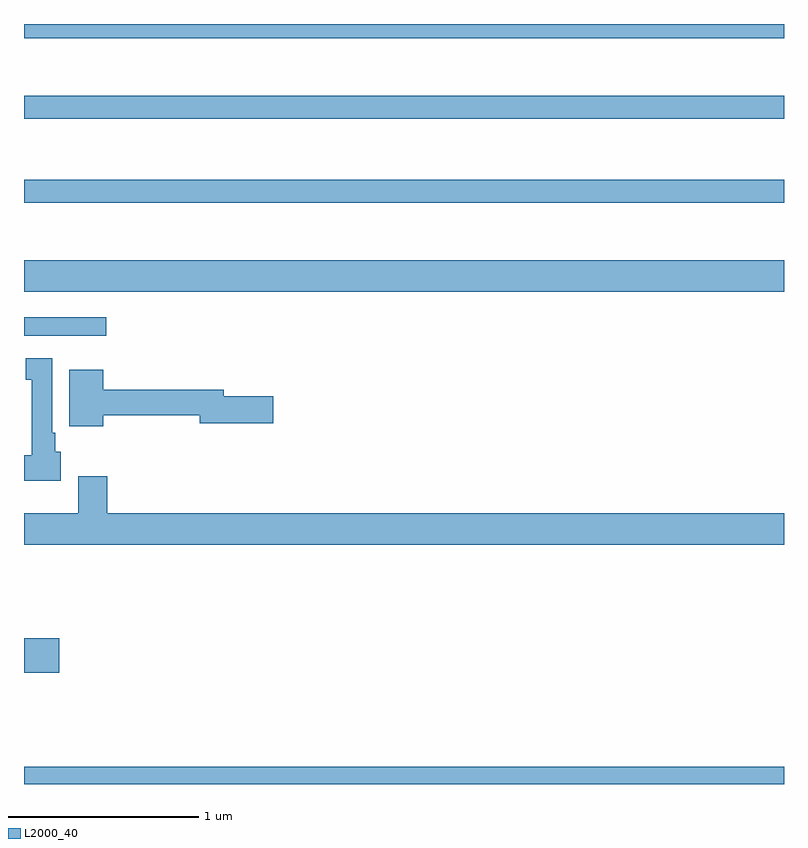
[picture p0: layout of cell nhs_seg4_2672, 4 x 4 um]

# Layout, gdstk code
import gdstk
lib = gdstk.Library(unit=1e-6, precision=1e-09)
def R(c, l, rs):  # rectangles x0, y0, x1, y1
    for r in rs: c.add(gdstk.rectangle(r[:2], r[2:], *l))
def P(c, l, *ps):  # polygons
    for p in ps: c.add(gdstk.Polygon(p, *l))
L2000_40 = (2000, 40)

nhs_seg4_2672 = lib.new_cell('nhs_seg4_2672')
R(nhs_seg4_2672, L2000_40, [(251,788.9,255,788.992), (251,789.485,251.185,789.668), (251,791.259,251.434,791.356), (251,791.492,255,791.656), (251,791.958,255,792.079), (251,792.402,255,792.523), (251,792.824,255,792.9)])
P(nhs_seg4_2672, L2000_40, [(251.194,790.65),(251.164,790.65),(251.164,790.75),(251.149,790.75),(251.149,791.14),(251.009,791.14),(251.009,791.027),(251.042,791.027),(251.042,790.63),(251,790.63),(251,790.496),(251.194,790.496)],
  [(251.416,790.84),(251.924,790.84),(251.924,790.798),(252.313,790.798),(252.313,790.94),(252.052,790.94),(252.052,790.976),(251.416,790.976),(251.416,791.08),(251.237,791.08),(251.237,790.784),(251.416,790.784)],
  [(255,790.324),(251.438,790.324),(251.438,790.519),(251.285,790.519),(251.285,790.324),(251,790.324),(251,790.16),(255,790.16)])

lib.write_gds('nhs_seg4_2672.gds')
